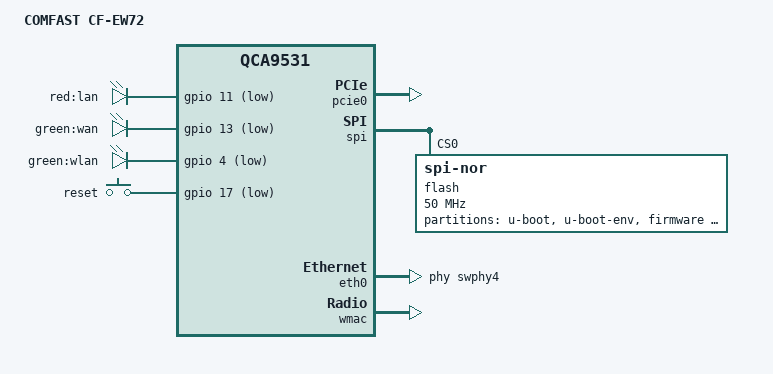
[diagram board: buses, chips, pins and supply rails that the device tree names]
// SPDX-License-Identifier: GPL-2.0-or-later OR MIT

#include "qca953x.dtsi"

#include <dt-bindings/gpio/gpio.h>
#include <dt-bindings/input/input.h>

/ {
	compatible = "comfast,cf-ew72", "qca,qca9531";
	model = "COMFAST CF-EW72";

	aliases {
		serial0 = &uart;
		led-boot = &led_wan;
		led-failsafe = &led_wan;
		led-upgrade = &led_wan;
	};

	leds {
		compatible = "gpio-leds";

		pinctrl-names = "default";
		pinctrl-0 = <&jtag_disable_pins>;

		lan {
			label = "red:lan";
			gpios = <&gpio 11 GPIO_ACTIVE_LOW>;
		};

		led_wan: wan {
			label = "green:wan";
			gpios = <&gpio 13 GPIO_ACTIVE_LOW>;
		};

		wlan {
			label = "green:wlan";
			gpios = <&gpio 4 GPIO_ACTIVE_LOW>;
			linux,default-trigger = "phy0tpt";
		};
	};

	keys {
		compatible = "gpio-keys";

		reset {
			label = "reset";
			linux,code = <KEY_RESTART>;
			gpios = <&gpio 17 GPIO_ACTIVE_LOW>;
			debounce-interval = <60>;
		};
	};
};

&pcie0 {
	status = "okay";
};

&spi {
	status = "okay";

	flash@0 {
		compatible = "jedec,spi-nor";
		reg = <0>;
		spi-max-frequency = <50000000>;

		partitions {
			compatible = "fixed-partitions";
			#address-cells = <1>;
			#size-cells = <1>;

			partition@0 {
				label = "u-boot";
				reg = <0x0 0x40000>;
				read-only;
			};

			partition@40000 {
				label = "u-boot-env";
				reg = <0x40000 0x10000>;
				read-only;
			};

			partition@60000 {
				label = "firmware";
				reg = <0x60000 0xf80000>;
				compatible = "denx,uimage";
			};

			partition@fe0000 {
				label = "factory";
				reg = <0xfe0000 0x10000>;
				compatible = "denx,uimage";
			};
			
			art: partition@ff0000 {
				label = "art";
				reg = <0xff0000 0x10000>;
				read-only;
			};
		};
	};
};

&eth0 {
	status = "okay";

	phy-handle = <&swphy4>;

	nvmem-cells = <&macaddr_art_0>;
	nvmem-cell-names = "mac-address";
	mac-address-increment = <1>;
};

&eth1 {
	nvmem-cells = <&macaddr_art_6>;
	nvmem-cell-names = "mac-address";
};

&wmac {
	status = "okay";

	mtd-cal-data = <&art 0x1000>;
	nvmem-cells = <&macaddr_art_0>;
	nvmem-cell-names = "mac-address";
	mac-address-increment = <3>;
};

&art {
	compatible = "nvmem-cells";
	#address-cells = <1>;
	#size-cells = <1>;

	macaddr_art_0: macaddr@0 {
		reg = <0x0 0x6>;
	};
	
	macaddr_art_6: macaddr@6 {
		reg = <0x6 0x6>;
	};	
};
